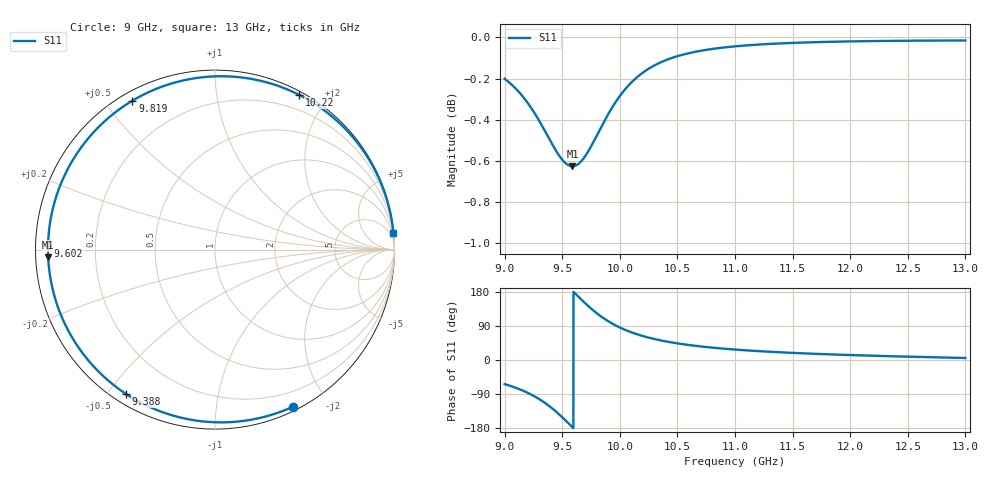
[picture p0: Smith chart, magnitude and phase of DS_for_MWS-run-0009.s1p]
! TOUCHSTONE file generated by CST DESIGN STUDIO
! Date and time: Tue Feb  4 18:06:09 2025
! Project name: C:\Work\MatlabApps\UnitCellOptimizationMatlab\CST\unitcell.cst
! Tree item: Tasks\Sweep1\SPara1\S-Parameters
! Header version: 2024
! Port assignment regex: !\s*Touchstone port\s*([0-9]+)\s*=\s*(CST MWS port|CST DES external port|CST DES block port)\s*(.+)\s* \(\"(.*)\"\)(\s*mode\s*([0-9]+))?.*
! Touchstone port assignment:
! Touchstone port 1 = CST DES external port 1 ("")
# GHz S MA R 50
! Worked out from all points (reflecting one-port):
!   4001 points, 9 GHz to 13 GHz, reference 50 ohm
!   lowest |S11| = -0.6 dB at 9.589 GHz (marker M1), VSWR 27.75, Z = 1.8 - j1.15 ohm
!   phase of S11 starts at -64 deg and turns -291 deg over the sweep
!   S11 on the Smith chart (normalised r, x): 9 GHz: 0.04, -1.61; 9.388 GHz: 0.04, -0.56; 9.602 GHz: 0.04, +0.01; 9.819 GHz: 0.04, +0.59; 10.22 GHz: 0.04, +1.68; 13 GHz: 0, +22
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9  0.9771 -63.7
9.049  0.9746 -68.3
9.118  0.9703 -75.8
9.237  0.9607 -92.2
9.317  0.9526 -106.4
9.388  0.9447 -121.7
9.444  0.9388 -135.6
9.5  0.9339 -150.9
9.546  0.9313 -164.4
9.589  0.9304 -177.4
9.602  0.9305 178.7
9.658  0.9326 161.8
9.719  0.9375 144.3
9.769  0.9429 131.0
9.819  0.9488 119.0
9.859  0.9535 110.3
9.902  0.9583 101.9
10  0.9677 85.8
10.106  0.9754 72.5
10.221  0.9814 61.4
10.35  0.986 52.0
10.5  0.9896 43.8
10.72  0.9927 35.2
11  0.995 27.5
11.5  0.9969 18.8
12  0.9978 13.1
12.5  0.9982 8.8
13  0.9983 5.3
